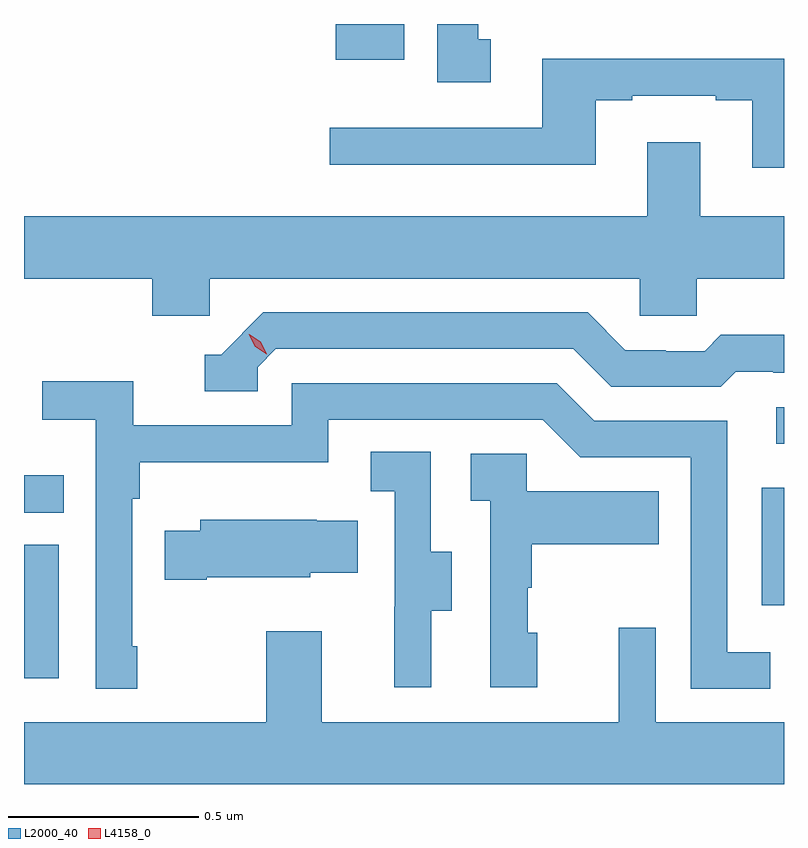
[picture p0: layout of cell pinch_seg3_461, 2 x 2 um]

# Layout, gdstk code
import gdstk
lib = gdstk.Library(unit=1e-6, precision=1e-09)
def R(c, l, rs):  # rectangles x0, y0, x1, y1
    for r in rs: c.add(gdstk.rectangle(r[:2], r[2:], *l))
def P(c, l, *ps):  # polygons
    for p in ps: c.add(gdstk.Polygon(p, *l))
L2000_40 = (2000, 40)
L4158_0 = (4158, 0)

pinch_seg3_461 = lib.new_cell('pinch_seg3_461')
R(pinch_seg3_461, L2000_40, [(913.995,673.224,914.086,673.575), (915.936,673.416,915.995,673.726), (913.995,673.66,914.099,673.759), (915.975,673.842,915.995,673.938), (914.816,674.852,914.995,674.946)])
P(pinch_seg3_461, L2000_40, [(915.223,674.906),(915.19,674.906),(915.19,674.946),(915.083,674.946),(915.083,674.793),(915.223,674.793)],
  [(915.995,674.854),(915.359,674.854),(915.359,674.673),(914.799,674.673),(914.799,674.576),(915.499,674.576),(915.499,674.745),(915.595,674.745),(915.595,674.757),(915.815,674.757),(915.815,674.745),(915.911,674.745),(915.911,674.568),(915.995,674.568)],
  [(914.484,674.276),(915.615,674.276),(915.615,674.178),(915.765,674.178),(915.765,674.276),(915.995,674.276),(915.995,674.44),(915.775,674.44),(915.775,674.635),(915.635,674.635),(915.635,674.44),(913.995,674.44),(913.995,674.276),(914.333,674.276),(914.333,674.178),(914.484,674.178)],
  [(914.61,674.043),(914.658,674.091),(915.441,674.091),(915.54,673.992),(915.829,673.992),(915.868,674.031),(915.967,674.031),(915.967,674.028),(915.995,674.028),(915.995,674.128),(915.829,674.128),(915.787,674.085),(915.684,674.085),(915.684,674.088),(915.577,674.088),(915.478,674.187),(914.625,674.187),(914.514,674.076),(914.471,674.076),(914.471,673.98),(914.61,673.98)],
  [(914.293,673.309),(914.28,673.309),(914.28,673.697),(914.3,673.697),(914.3,673.793),(914.796,673.793),(914.796,673.905),(915.36,673.905),(915.459,673.806),(915.75,673.806),(915.75,673.197),(915.959,673.197),(915.959,673.293),(915.846,673.293),(915.846,673.902),(915.496,673.902),(915.397,674.001),(914.7,674.001),(914.7,673.89),(914.282,673.89),(914.282,674.006),(914.043,674.006),(914.043,673.904),(914.184,673.904),(914.184,673.197),(914.293,673.197)],
  [(915.067,673.402),(915.121,673.402),(915.121,673.557),(915.066,673.557),(915.066,673.82),(914.907,673.82),(914.907,673.717),(914.97,673.717),(914.97,673.413),(914.969,673.413),(914.969,673.2),(915.067,673.2)],
  [(915.346,673.344),(915.321,673.344),(915.321,673.463),(915.331,673.463),(915.331,673.577),(915.665,673.577),(915.665,673.717),(915.318,673.717),(915.318,673.815),(915.171,673.815),(915.171,673.691),(915.222,673.691),(915.222,673.2),(915.346,673.2)],
  [(914.476,673.49),(914.748,673.49),(914.748,673.502),(914.873,673.502),(914.873,673.639),(914.765,673.639),(914.765,673.642),(914.459,673.642),(914.459,673.612),(914.365,673.612),(914.365,673.483),(914.476,673.483)],
  [(915.995,673.108),(915.657,673.108),(915.657,673.357),(915.56,673.357),(915.56,673.108),(914.779,673.108),(914.779,673.348),(914.632,673.348),(914.632,673.108),(913.995,673.108),(913.995,672.946),(915.995,672.946)])
P(pinch_seg3_461, L4158_0, [(914.634,674.077),(914.603,674.097),(914.587,674.129),(914.587,674.13),(914.588,674.13),(914.618,674.11),(914.634,674.077),(914.634,674.077)])

lib.write_gds('pinch_seg3_461.gds')
